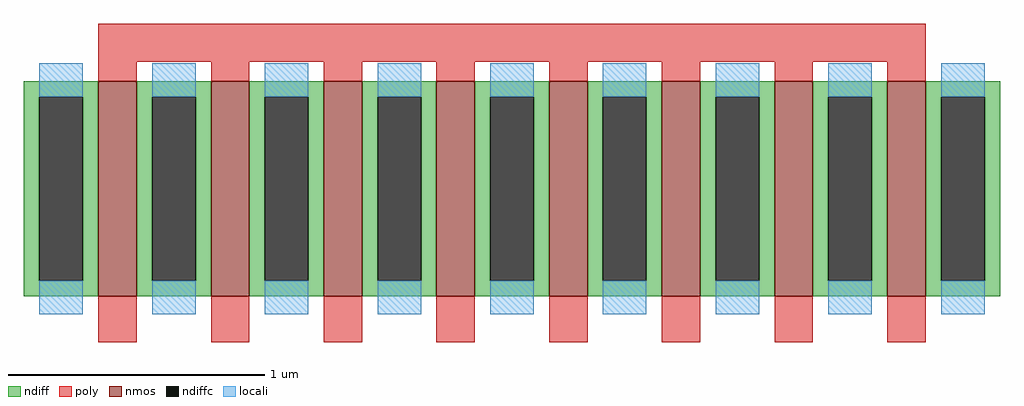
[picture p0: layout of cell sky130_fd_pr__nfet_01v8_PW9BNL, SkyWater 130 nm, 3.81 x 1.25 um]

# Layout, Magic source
magic
tech sky130A
magscale 1 2
<< nmos >>
rect -15 -163 15 5
rect 73 -163 103 5
rect 161 -163 191 5
rect 249 -163 279 5
rect 337 -163 367 5
rect 425 -163 455 5
rect 513 -163 543 5
rect 601 -163 631 5
<< ndiff >>
rect -73 -7 -15 5
rect -73 -151 -61 -7
rect -27 -151 -15 -7
rect -73 -163 -15 -151
rect 15 -7 73 5
rect 15 -151 27 -7
rect 61 -151 73 -7
rect 15 -163 73 -151
rect 103 -7 161 5
rect 103 -151 115 -7
rect 149 -151 161 -7
rect 103 -163 161 -151
rect 191 -7 249 5
rect 191 -151 203 -7
rect 237 -151 249 -7
rect 191 -163 249 -151
rect 279 -7 337 5
rect 279 -151 291 -7
rect 325 -151 337 -7
rect 279 -163 337 -151
rect 367 -7 425 5
rect 367 -151 379 -7
rect 413 -151 425 -7
rect 367 -163 425 -151
rect 455 -7 513 5
rect 455 -151 467 -7
rect 501 -151 513 -7
rect 455 -163 513 -151
rect 543 -7 601 5
rect 543 -151 555 -7
rect 589 -151 601 -7
rect 543 -163 601 -151
rect 631 -7 689 5
rect 631 -151 643 -7
rect 677 -151 689 -7
rect 631 -163 689 -151
<< ndiffc >>
rect -61 -151 -27 -7
rect 27 -151 61 -7
rect 115 -151 149 -7
rect 203 -151 237 -7
rect 291 -151 325 -7
rect 379 -151 413 -7
rect 467 -151 501 -7
rect 555 -151 589 -7
rect 643 -151 677 -7
<< poly >>
rect -15 20 631 50
rect -15 5 15 20
rect 73 5 103 20
rect 161 5 191 20
rect 249 5 279 20
rect 337 5 367 20
rect 425 5 455 20
rect 513 5 543 20
rect 601 5 631 20
rect -15 -199 15 -163
rect 73 -199 103 -163
rect 161 -199 191 -163
rect 249 -199 279 -163
rect 337 -199 367 -163
rect 425 -199 455 -163
rect 513 -199 543 -163
rect 601 -199 631 -163
<< locali >>
rect -61 -7 -27 19
rect -61 -177 -27 -151
rect 27 -7 61 19
rect 27 -177 61 -151
rect 115 -7 149 19
rect 115 -177 149 -151
rect 203 -7 237 19
rect 203 -177 237 -151
rect 291 -7 325 19
rect 291 -177 325 -151
rect 379 -7 413 19
rect 379 -177 413 -151
rect 467 -7 501 19
rect 467 -177 501 -151
rect 555 -7 589 19
rect 555 -177 589 -151
rect 643 -7 677 19
rect 643 -177 677 -151
<< properties >>
string gencell sky130_fd_pr__nfet_01v8
string library sky130
string parameters w 0.460 l 0.150 m 1 nf 1 diffcov 100 polycov 100 guard 0 glc 0 grc 0 gtc 0 gbc 0 tbcov 100 rlcov 100 topc 1 botc 0 poverlap 0 doverlap 1 lmin 0.15 wmin 0.42 compatible {sky130_fd_pr__nfet_01v8 sky130_fd_pr__nfet_01v8_lvt  sky130_fd_bs_flash__special_sonosfet_star  sky130_fd_pr__nfet_g5v0d10v5 sky130_fd_pr__nfet_05v0_nvt  sky130_fd_pr__nfet_03v3_nvt} full_metal 0 viasrc 100 viadrn 100 viagate 100 viagb 0 viagr 0 viagl 0 viagt 0
<< end >>
